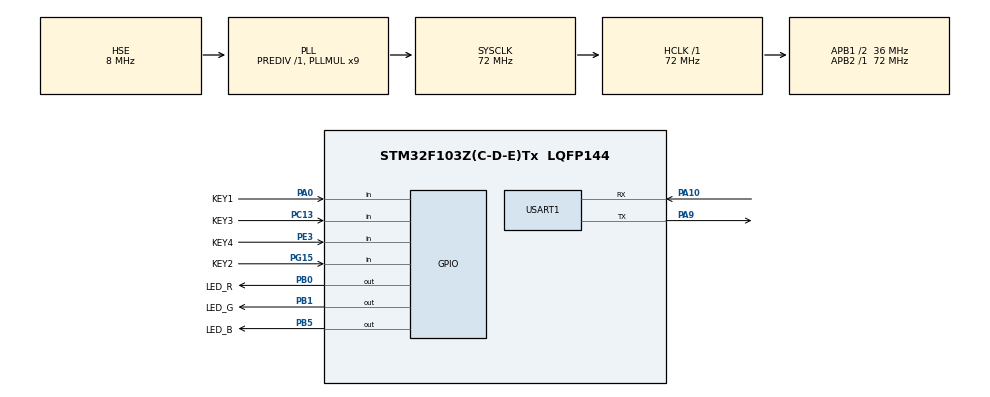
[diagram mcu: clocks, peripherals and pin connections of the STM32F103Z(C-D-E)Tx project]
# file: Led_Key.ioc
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Mcu.Family=STM32F1
Mcu.Name=STM32F103Z(C-D-E)Tx
Mcu.Package=LQFP144
NVIC.PriorityGroup=NVIC_PRIORITYGROUP_4
OSC_IN.Mode=HSE-External-Oscillator
OSC_IN.Signal=RCC_OSC_IN
OSC_OUT.Mode=HSE-External-Oscillator
OSC_OUT.Signal=RCC_OSC_OUT
PA0-WKUP.GPIO_Label=KEY1
PA0-WKUP.GPIO_PuPd=GPIO_PULLUP
PA0-WKUP.Signal=GPIO_Input
PA10.Mode=Asynchronous
PA10.Signal=USART1_RX
PA13.Mode=Serial_Wire
PA13.Signal=SYS_JTMS-SWDIO
PA14.Mode=Serial_Wire
PA14.Signal=SYS_JTCK-SWCLK
PA9.Mode=Asynchronous
PA9.Signal=USART1_TX
PB0.GPIO_Label=LED_R
PB0.GPIO_ModeDefaultOutputPP=GPIO_MODE_OUTPUT_PP
PB0.GPIO_PuPd=GPIO_PULLUP
PB0.GPIO_Speed=GPIO_SPEED_FREQ_HIGH
PB0.PinState=GPIO_PIN_SET
PB0.Signal=GPIO_Output
PB1.GPIO_Label=LED_G
PB1.GPIO_ModeDefaultOutputPP=GPIO_MODE_OUTPUT_PP
PB1.GPIO_PuPd=GPIO_PULLUP
PB1.GPIO_Speed=GPIO_SPEED_FREQ_HIGH
PB1.PinState=GPIO_PIN_SET
PB1.Signal=GPIO_Output
PB5.GPIO_Label=LED_B
PB5.GPIO_ModeDefaultOutputPP=GPIO_MODE_OUTPUT_PP
PB5.GPIO_PuPd=GPIO_PULLUP
PB5.GPIO_Speed=GPIO_SPEED_FREQ_HIGH
PB5.PinState=GPIO_PIN_SET
PB5.Signal=GPIO_Output
PC13-TAMPER-RTC.GPIO_Label=KEY3
PC13-TAMPER-RTC.GPIO_PuPd=GPIO_PULLUP
PC13-TAMPER-RTC.Signal=GPIO_Input
PC14-OSC32_IN.Mode=LSE-External-Oscillator
PC14-OSC32_IN.Signal=RCC_OSC32_IN
PC15-OSC32_OUT.Mode=LSE-External-Oscillator
PC15-OSC32_OUT.Signal=RCC_OSC32_OUT
PE3.GPIO_Label=KEY4
PE3.GPIO_PuPd=GPIO_PULLUP
PE3.Signal=GPIO_Input
PG15.GPIO_Label=KEY2
PG15.GPIO_PuPd=GPIO_PULLUP
PG15.Signal=GPIO_Input
ProjectManager.HeapSize=0x200
ProjectManager.StackSize=0x400
ProjectManager.TargetToolchain=CMake
RCC.AHBFreq_Value=72000000
RCC.APB1CLKDivider=RCC_HCLK_DIV2
RCC.APB1Freq_Value=36000000
RCC.APB1TimFreq_Value=72000000
RCC.APB2Freq_Value=72000000
RCC.APB2TimFreq_Value=72000000
RCC.HCLKFreq_Value=72000000
RCC.PLLMUL=RCC_PLL_MUL9
RCC.PLLSourceVirtual=RCC_PLLSOURCE_HSE
RCC.SYSCLKFreq_VALUE=72000000
RCC.SYSCLKSource=RCC_SYSCLKSOURCE_PLLCLK
RCC.USBFreq_Value=72000000
USART1.VirtualMode=VM_ASYNC
board=custom

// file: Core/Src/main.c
/* USER CODE BEGIN Header */
/**
  ******************************************************************************
  * @file           : main.c
  * @brief          : Main program body
  ******************************************************************************
  * @attention
  *
  * Copyright (c) 2025 STMicroelectronics.
  * All rights reserved.
  *
  * This software is licensed under terms that can be found in the LICENSE file
  * in the root directory of this software component.
  * If no LICENSE file comes with this software, it is provided AS-IS.
  *
  ******************************************************************************
  */
/* USER CODE END Header */
#include "main.h"
#include "gpio.h"
#include "usart.h"

/* USER CODE BEGIN Includes */
#include <stdio.h>
#include <string.h>
#include "driver_i2c.h"
#include  "driver_key.h"
#include "driver_led.h"
#include "driver_oled.h"
#include "driver_usart.h"
#include "ring_buffer.h"
/* USER CODE END Includes */

/* USER CODE BEGIN PV */
extern int __io_getchar(void) __attribute__((weak));
ring_buffer test_buffer;
/* USER CODE END PV */

void SystemClock_Config(void);

int main(void)
{
  /* USER CODE BEGIN 1 */
  // char c = 0;
  /* USER CODE END 1 */

  /* MCU Configuration--------------------------------------------------------*/

  /* Reset of all peripherals, Initializes the Flash interface and the Systick. */
  HAL_Init();

  /* Configure the system clock */
  SystemClock_Config();

  /* Initialize all configured peripherals */
  MX_GPIO_Init();
  MX_USART1_UART_Init();
  /* USER CODE BEGIN 2 */
  KEY_GPIO_ReInit();
  ring_buffer_init(&test_buffer);
  EnableDebugIRQ();
  printf("hello World!\r\n");
  //DebugPrint("Hello World!\r\n");
  /* USER CODE END 2 */

  /* Infinite loop */
  while (1)
  {

    /* USER CODE BEGIN 3 */
    // DebugGet((char *)buf, 4);
    // DebugPrint((char *)buf);
    // memset(buf, 0, 4);
    // scanf("%s9", buf);
    // printf("%s\n", buf);
    // memset(buf, 0, strlen(buf));
    // c = __io_getchar();
    //
    // if (c != 0) {
    //   printf("%c\r\n", c);
    //   c = 0;
    // }
    if(KEY1_Value() == KEY_PRESSED)
    {
      printf("Key 1 is pressed!\r\n");
    }

    if(KEY2_Value() == KEY_PRESSED)
    {
      printf("Key 2 is pressed!\r\n");
    }

    if(KEY3_Value() == KEY_PRESSED)
    {
      printf("Key 3 is pressed!\r\n");
    }

    if(KEY4_Value() == KEY_PRESSED)
    {
      printf("Key 4 is pressed!\r\n");
    }
  }
  /* USER CODE END 3 */
}

void SystemClock_Config(void)
{
  RCC_OscInitTypeDef RCC_OscInitStruct = {0};
  RCC_ClkInitTypeDef RCC_ClkInitStruct = {0};

  /** Initializes the RCC Oscillators according to the specified parameters
  * in the RCC_OscInitTypeDef structure.
  */
  RCC_OscInitStruct.OscillatorType = RCC_OSCILLATORTYPE_HSE;
  RCC_OscInitStruct.HSEState = RCC_HSE_ON;
  RCC_OscInitStruct.HSEPredivValue = RCC_HSE_PREDIV_DIV1;
  RCC_OscInitStruct.HSIState = RCC_HSI_ON;
  RCC_OscInitStruct.PLL.PLLState = RCC_PLL_ON;
  RCC_OscInitStruct.PLL.PLLSource = RCC_PLLSOURCE_HSE;
  RCC_OscInitStruct.PLL.PLLMUL = RCC_PLL_MUL9;
  if (HAL_RCC_OscConfig(&RCC_OscInitStruct) != HAL_OK)
  {
    Error_Handler();
  }

  /** Initializes the CPU, AHB and APB buses clocks
  */
  RCC_ClkInitStruct.ClockType = RCC_CLOCKTYPE_HCLK|RCC_CLOCKTYPE_SYSCLK
                              |RCC_CLOCKTYPE_PCLK1|RCC_CLOCKTYPE_PCLK2;
  RCC_ClkInitStruct.SYSCLKSource = RCC_SYSCLKSOURCE_PLLCLK;
  RCC_ClkInitStruct.AHBCLKDivider = RCC_SYSCLK_DIV1;
  RCC_ClkInitStruct.APB1CLKDivider = RCC_HCLK_DIV2;
  RCC_ClkInitStruct.APB2CLKDivider = RCC_HCLK_DIV1;

  if (HAL_RCC_ClockConfig(&RCC_ClkInitStruct, FLASH_LATENCY_2) != HAL_OK)
  {
    Error_Handler();
  }
}

void Error_Handler(void)
{
  __disable_irq();
  while (1)
  {
  }
}
